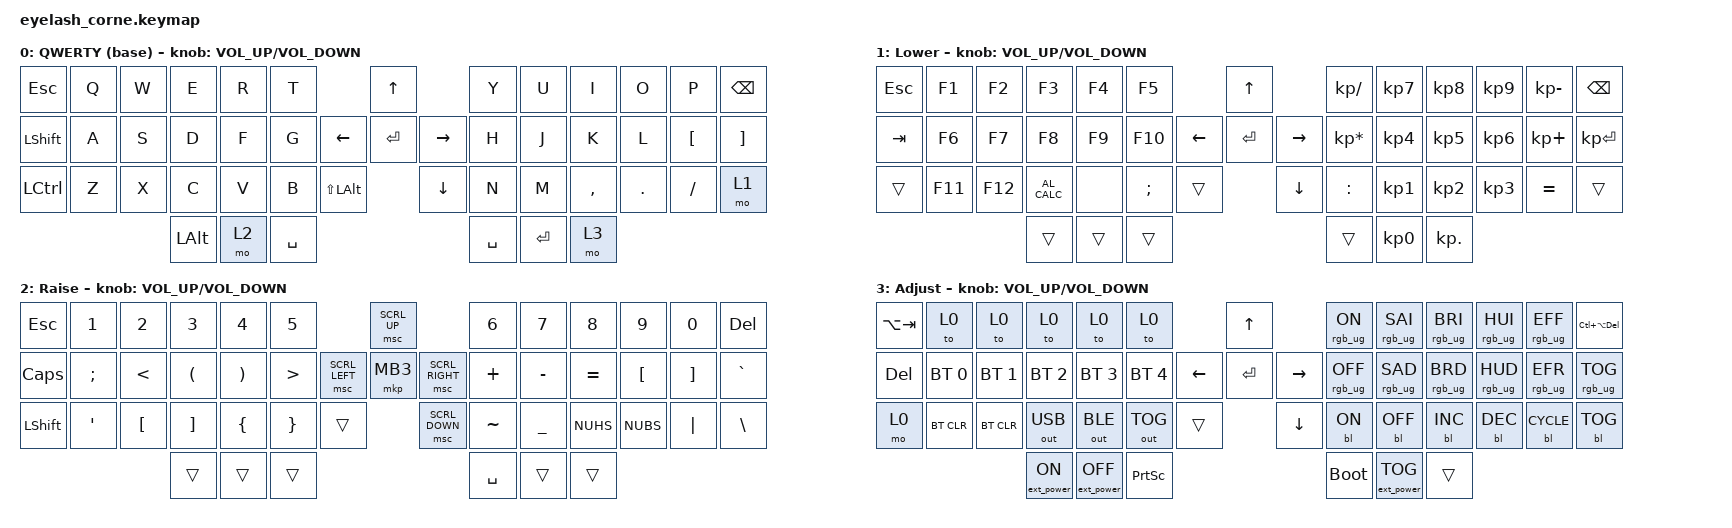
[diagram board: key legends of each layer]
// #define ZMK_POINTING_DEFAULT_MOVE_VAL 1200  // 600
// #define ZMK_POINTING_DEFAULT_SCRL_VAL 25    // 10

#define ZMK_POINTING_DEFAULT_SCRL_VAL 30    // default: 10

#include <input/processors.dtsi>
#include <zephyr/dt-bindings/input/input-event-codes.h>
#include <dt-bindings/zmk/mouse.h>
#include <behaviors.dtsi>
#include <dt-bindings/zmk/backlight.h>
#include <dt-bindings/zmk/bt.h>
#include <dt-bindings/zmk/ext_power.h>
#include <dt-bindings/zmk/keys.h>
#include <dt-bindings/zmk/outputs.h>
#include <dt-bindings/zmk/pointing.h>
#include <dt-bindings/zmk/rgb.h>

#define QTY_HR 0    // QWERTY w/ HRM
#define QTY 1       // QWERTY
#define CMK_HR 2    // Colemak w/ HRM
#define CMK 3       // Colemak
#define CMR 4       // Colemak Reversed
#define TRN 5       // Transparent (basic querty)
#define LOW 6       // Lower
#define RSE 7       // Raise
#define ADJ 8       // Adjust (keymap, bluetooth, output, backlight control)
#define FUN 9       // Function/Media
#define MAX 10      // Maxtend
#define MSE 11      // Mouse
#define NSP 12      // NumSpace
#define NTB 13      // NumTab (currently unused)
#define AGR 14      // AltGr (for Windows Umlauts via Alt+Numpad)
#define AGS 15      // AltGr+Shift (for Windows uppercase Umlauts via Alt+Numpad)
#define AJ2 16      // Adjust 2 = Adjust+LShift (additional control functions)

// &mmv_input_listener { input-processors = <&zip_xy_scaler 2 1>; };
// &msc_input_listener { input-processors = <&zip_scroll_scaler 2 1>; };
// &msc {
//     acceleration-exponent = <1>;      // 0
//     time-to-max-speed-ms = <100>;     // 300
//     delay-ms = <0>;                   // 0
// };
// &mmv {
//     time-to-max-speed-ms = <500>;
//     acceleration-exponent = <1>;
//     trigger-period-ms = <16>;
// };

&lt { quick-tap-ms = <200>; };

&caps_word {
    continue-list = <UNDERSCORE BACKSPACE DELETE SEMI>;

    // SEMI is added here because QWERTY semicolon is letter 'O' in Colemak. Unfortunately, it doesn't automatically get shifted.
};

/ {
    behaviors {
        mup: mute_unmute_ptt {
            compatible = "zmk,behavior-hold-tap";
            #binding-cells = <2>;
            tapping-term-ms = <200>;
            flavor = "hold-preferred";
            hold-while-undecided-linger;
            bindings = <&kp>, <&kp>;
        };

        hml: hrmod_left {
            compatible = "zmk,behavior-hold-tap";
            #binding-cells = <2>;
            tapping-term-ms = <200>;
            flavor = "balanced";
            quick-tap-ms = <200>;
            require-prior-idle-ms = <100>;
            bindings = <&kp>, <&kp>;

            hold-trigger-key-positions = <7 8 9 10 11 12 22 23 24 25 26 27 36 37 38 39 40 41 44 45 46 47>;

            // these are all the right-side buttons
            // left-side thumb button for LOW/TAB also included, allowing Alt-TAB with left hand without tapping-term-ms delay.

            hold-trigger-on-release;
        };

        hmr: hrmod_right {
            compatible = "zmk,behavior-hold-tap";
            #binding-cells = <2>;
            tapping-term-ms = <200>;
            flavor = "balanced";
            quick-tap-ms = <200>;
            require-prior-idle-ms = <100>;
            bindings = <&kp>, <&kp>;

            hold-trigger-key-positions = <0 1 2 3 4 5 13 14 15 16 17 18 28 29 30 31 32 33 42 43 44 45>;

            // these are all the left-side buttons

            hold-trigger-on-release;
        };

        hll: hrlayer_left {
            compatible = "zmk,behavior-hold-tap";
            #binding-cells = <2>;
            tapping-term-ms = <200>;
            flavor = "balanced";
            quick-tap-ms = <200>;
            require-prior-idle-ms = <100>;
            bindings = <&mo>, <&kp>;

            hold-trigger-key-positions = <7 8 9 10 11 12 22 23 24 25 26 27 36 37 38 39 40 41 44 45 46 47>;

            // these are all the right-side buttons
            // left-side thumb button for LOW/TAB also included, allowing Alt-TAB with left hand without tapping-term-ms delay.

            hold-trigger-on-release;
        };

        hlr: hrlayer_right {
            compatible = "zmk,behavior-hold-tap";
            #binding-cells = <2>;
            tapping-term-ms = <200>;
            flavor = "balanced";
            quick-tap-ms = <200>;
            require-prior-idle-ms = <100>;
            bindings = <&mo>, <&kp>;

            hold-trigger-key-positions = <0 1 2 3 4 5 13 14 15 16 17 18 28 29 30 31 32 33 42 43 44 45>;

            // these are all the left-side buttons

            hold-trigger-on-release;
        };

        lsz: layer_tap_sz {
            // pass two parameters to this behaviour:
            // - number of layer to activate for momentary layer functionality
            // - second parameter will be ignored (e.g. just pass number 0), it will always tap &uml_sz macro

            compatible = "zmk,behavior-hold-tap";
            #binding-cells = <2>;
            tapping-term-ms = <200>;
            flavor = "balanced";
            quick-tap-ms = <200>;
            require-prior-idle-ms = <100>;
            bindings = <&mo>, <&uml_sz>;

            hold-trigger-on-release;
        };
    };

    //  key positions (for hold-trigger-key-positions):
    //  (0) TAB       (1))Q     (2) W     (3) E     (4) R        (5) T                      (6) up               (7) Y          (8) U     (9) I     (10) O    (11) P     (12) BSPC
    //  (13) MAX BSPC (14) A    (15) S    (16) D    (17) F       (18) G         (19) left  (20) mid  (21) right  (22) H         (23) J     (24) K     (25) L    (26) SEMI  (27) APOS
    //  (28) LSHFT    (29) Z    (30) X    (31) C    (32) V       (33) B         (34) mute  (35) down             (36) N         (37) M     (38) COMMA (39) DOT  (40) SLASH (41) RSHFT ENTER
    //                                    (42) ADJ  (43) LOW TAB (44) MSE SPACE                                  (45) NSP SPACE (46) RSE   (47) FUN
    // &kp TAB    &kp Q  &kp W      &kp E     &kp R  &kp T                              &kp UP                &kp Y        &kp U  &kp I      &kp O    &kp P     &kp BSPC
    // &td0       &kp A  &kp S      &kp D     &kp F  &kp G                    &kp LEFT  &kp ENTER  &kp RIGHT  &kp H        &kp J  &kp K      &kp L    &kp SEMI  &kp SQT
    // &kp LCTRL  &kp Z  &kp X      &kp C     &kp V  &kp B       &kp SPACE              &kp DOWN              &kp N        &kp M  &kp COMMA  &kp DOT  &kp FSLH  &kp ESC
    //                              &kp LGUI  &mo 1  &lt 3 SPACE                                              &lt 3 ENTER  &mo 2  &kp RALT

    macros {
        blockquote: blockquote {
            compatible = "zmk,behavior-macro";
            #binding-cells = <0>;
            bindings =
                <&macro_tap>,
                <&kp GRAVE &kp GRAVE &kp GRAVE &kp ENTER &kp ENTER &kp GRAVE &kp GRAVE &kp GRAVE &kp ENTER>,
                <&macro_tap>,
                <&kp UP &kp UP>;
        };

        uml_a: umlaut_a {
            compatible = "zmk,behavior-macro";
            #binding-cells = <0>;
            bindings =
                <&macro_press>,
                <&kp LALT>,
                <&macro_tap>,
                <&kp KP_N0 &kp KP_N2 &kp KP_N2 &kp KP_N8>,
                <&macro_release>,
                <&kp LALT>;
        };

        uml_o: umlaut_o {
            compatible = "zmk,behavior-macro";
            #binding-cells = <0>;
            bindings =
                <&macro_press>,
                <&kp LALT>,
                <&macro_tap>,
                <&kp KP_N0 &kp KP_N2 &kp KP_N4 &kp KP_N6>,
                <&macro_release>,
                <&kp LALT>;
        };

        uml_u: umlaut_u {
            compatible = "zmk,behavior-macro";
            #binding-cells = <0>;
            bindings =
                <&macro_press>,
                <&kp LALT>,
                <&macro_tap>,
                <&kp KP_N0 &kp KP_N2 &kp KP_N5 &kp KP_N2>,
                <&macro_release>,
                <&kp LALT>;
        };

        uml_sz: umlaut_sz {
            compatible = "zmk,behavior-macro";
            #binding-cells = <0>;
            bindings =
                <&macro_press>,
                <&kp LALT>,
                <&macro_tap>,
                <&kp KP_N0 &kp KP_N2 &kp KP_N2 &kp KP_N3>,
                <&macro_release>,
                <&kp LALT>;
        };

        umu_a: umlaut_a_uppercase {
            compatible = "zmk,behavior-macro";
            #binding-cells = <0>;
            bindings =
                <&macro_press>,
                <&kp LALT>,
                <&macro_tap>,
                <&kp KP_N0 &kp KP_N1 &kp KP_N9 &kp KP_N6>,
                <&macro_release>,
                <&kp LALT>;
        };

        umu_o: umlaut_o_uppercase {
            compatible = "zmk,behavior-macro";
            #binding-cells = <0>;
            bindings =
                <&macro_press>,
                <&kp LALT>,
                <&macro_tap>,
                <&kp KP_N0 &kp KP_N2 &kp KP_N1 &kp KP_N4>,
                <&macro_release>,
                <&kp LALT>;
        };

        umu_u: umlaut_u_uppercase {
            compatible = "zmk,behavior-macro";
            #binding-cells = <0>;
            bindings =
                <&macro_press>,
                <&kp LALT>,
                <&macro_tap>,
                <&kp KP_N0 &kp KP_N2 &kp KP_N2 &kp KP_N0>,
                <&macro_release>,
                <&kp LALT>;
        };
    };

    combos {
        compatible = "zmk,combos";

        combo_esc_q_w {
            require-prior-idle-ms = <100>;
            timeout-ms = <100>;
            key-positions = <1 2>;
            bindings = <&kp ESC>;
        };

        combo_esc_tab_q {
            require-prior-idle-ms = <100>;
            timeout-ms = <100>;
            key-positions = <0 1>;
            bindings = <&kp ESC>;
        };

        combo_enter_o_apos {
            require-prior-idle-ms = <100>;
            timeout-ms = <100>;
            key-positions = <26 27>;
            bindings = <&kp ENTER>;
        };

        combo_enter_n_e_i {
            require-prior-idle-ms = <100>;
            timeout-ms = <100>;
            key-positions = <23 24 25>;
            bindings = <&kp ENTER>;
        };

        combo_blockquote_esc_tab_q {
            require-prior-idle-ms = <100>;
            timeout-ms = <100>;
            key-positions = <0 1>;
            bindings = <&blockquote>;
        };
    };

    keymap {
        compatible = "zmk,keymap";

        transparent_layer {
            display-name = "QWERTY (base)";
            bindings = <
&kp ESCAPE      &kp Q  &kp W  &kp E         &kp R  &kp T                                    &kp UP                &kp Y      &kp U      &kp I      &kp O    &kp P             &kp BSPC
&kp LEFT_SHIFT  &kp A  &kp S  &kp D         &kp F  &kp G                          &kp LEFT  &kp ENTER  &kp RIGHT  &kp H      &kp J      &kp K      &kp L    &kp LEFT_BRACKET  &kp RIGHT_BRACKET
&kp LCTRL       &kp Z  &kp X  &kp C         &kp V  &kp B      &kp LS(LEFT_ALT)              &kp DOWN              &kp N      &kp M      &kp COMMA  &kp DOT  &kp SLASH         &mo 1
                              &kp LEFT_ALT  &mo 2  &kp SPACE                                                      &kp SPACE  &kp ENTER  &mo 3
            >;

            sensor-bindings = <&inc_dec_kp C_VOLUME_UP C_VOLUME_DOWN>;
        };

        lower_layer {
            display-name = "Lower";
            bindings = <
&kp ESC  &kp F1   &kp F2   &kp F3         &kp F4  &kp F5                        &kp UP                &kp KP_SLASH     &kp KP_N7  &kp KP_N8   &kp KP_N9  &kp KP_MINUS  &kp BSPC
&kp TAB  &kp F6   &kp F7   &kp F8         &kp F9  &kp F10             &kp LEFT  &kp ENTER  &kp RIGHT  &kp KP_ASTERISK  &kp KP_N4  &kp KP_N5   &kp KP_N6  &kp KP_PLUS   &kp KP_ENTER
&trans   &kp F11  &kp F12  &kp C_AL_CALC  &none   &kp SEMI  &trans              &kp DOWN              &kp COLON        &kp KP_N1  &kp KP_N2   &kp KP_N3  &kp EQUAL     &trans
                           &trans         &trans  &trans                                              &trans           &kp KP_N0  &kp KP_DOT
            >;

            sensor-bindings = <&inc_dec_kp C_VOLUME_UP C_VOLUME_DOWN>;
        };

        raise_layer {
            display-name = "Raise";
            bindings = <
&kp ESC    &kp N1         &kp N2    &kp N3    &kp N4    &kp N5                              &msc SCRL_UP                     &kp N6     &kp N7     &kp N8     &kp N9    &kp N0    &kp DEL
&kp CAPS   &kp SEMICOLON  &kp LT    &kp LPAR  &kp RPAR  &kp GT              &msc SCRL_LEFT  &mkp MB3        &msc SCRL_RIGHT  &kp PLUS   &kp MINUS  &kp EQUAL  &kp LBKT  &kp RBKT  &kp GRAVE
&kp LSHFT  &kp SQT        &kp LBKT  &kp RBKT  &kp LBRC  &kp RBRC  &trans                    &msc SCRL_DOWN                   &kp TILDE  &kp UNDER  &kp NUHS   &kp NUBS  &kp PIPE  &kp BACKSLASH
                                    &trans    &trans    &trans                                                               &kp SPACE  &trans     &trans
            >;

            sensor-bindings = <&inc_dec_kp C_VOLUME_UP C_VOLUME_DOWN>;
        };

        adjust_layer {
            display-name = "Adjust";
            bindings = <
&kp LA(TAB)  &to 0         &to 0         &to 0             &to 0              &to 0                                &kp UP                &rgb_ug RGB_ON   &rgb_ug RGB_SAI    &rgb_ug RGB_BRI  &rgb_ug RGB_HUI  &rgb_ug RGB_EFF  &kp LC(LA(DEL))
&kp DEL      &bt BT_SEL 0  &bt BT_SEL 1  &bt BT_SEL 2      &bt BT_SEL 3       &bt BT_SEL 4               &kp LEFT  &kp ENTER  &kp RIGHT  &rgb_ug RGB_OFF  &rgb_ug RGB_SAD    &rgb_ug RGB_BRD  &rgb_ug RGB_HUD  &rgb_ug RGB_EFR  &rgb_ug RGB_TOG
&mo 0        &bt BT_CLR    &bt BT_CLR    &out OUT_USB      &out OUT_BLE       &out OUT_TOG     &trans              &kp DOWN              &bl BL_ON        &bl BL_OFF         &bl BL_INC       &bl BL_DEC       &bl BL_CYCLE     &bl BL_TOG
                                         &ext_power EP_ON  &ext_power EP_OFF  &kp PRINTSCREEN                                            &bootloader      &ext_power EP_TOG  &trans
            >;

            sensor-bindings = <&inc_dec_kp C_VOLUME_UP C_VOLUME_DOWN>;
        };

        // The following two layers generate Colemak AltGr and Colemak AltGr-Shift international characters using Windows Alt+Numpad keystrokes.
        // Each key needs to be bound to a macro that sends the Alt+Numpad scancodes. You'll need lots of macros for this.
        // At the moment, only German Umlauts äöü, shifted German Umlauts ÄÖÜ and German "scharfes S" ß have been created.
        // ß (rewritten as "sz" in ASCII) has a very special binding because it functions as a layer shift when held, but needs to call
        // the uml_sz macro when tapped.
    };
};

// / {
//     behaviors {
//         td0: td0 {
//             compatible = "zmk,behavior-tap-dance";
//             display-name = "Shift/Caps Lock Tap Dance";
//             #binding-cells = <0>;
//             bindings = <&kp LEFT_SHIFT>, <&kp CAPS>;
//         };
//     };
//     rgb_encoder: rgb_encoder {
//         compatible = "zmk,behavior-sensor-rotate";
//         #sensor-binding-cells = <0>;
//         bindings = <&rgb_ug RGB_BRI>, <&rgb_ug RGB_BRD>;
//     };
//     scroll_encoder: scroll_encoder {
//         compatible = "zmk,behavior-sensor-rotate";
//         #sensor-binding-cells = <0>;
//         bindings = <&msc SCRL_DOWN>, <&msc SCRL_UP>;
//         tap-ms = <100>;
//     };
//     keymap {
//         compatible = "zmk,keymap";
//         default_layer {
//             display-name = "QWERTY";
//             bindings = <
// &kp TAB    &kp Q  &kp W      &kp E     &kp R  &kp T                              &kp UP                &kp Y        &kp U  &kp I      &kp O    &kp P     &kp BSPC
// &td0       &kp A  &kp S      &kp D     &kp F  &kp G                    &kp LEFT  &kp ENTER  &kp RIGHT  &kp H        &kp J  &kp K      &kp L    &kp SEMI  &kp SQT
// &kp LCTRL  &kp Z  &kp X      &kp C     &kp V  &kp B       &kp SPACE              &kp DOWN              &kp N        &kp M  &kp COMMA  &kp DOT  &kp FSLH  &kp ESC
//                              &kp LGUI  &mo 1  &lt 3 SPACE                                              &lt 3 ENTER  &mo 2  &kp RALT
//             >;
//             sensor-bindings = <&inc_dec_kp C_VOLUME_UP C_VOLUME_DOWN>;
//         };
//         lower_layer {
//             display-name = "NUMBER";
//             bindings = <
// &trans  &kp N1           &kp N2          &kp N3        &kp N4        &kp N5                                        &mmv MOVE_UP                     &kp N6           &kp N7           &kp N8           &kp N9           &kp N0    &kp BSPC
// &trans  &bt BT_CLR_ALL   &bt BT_SEL 0    &bt BT_SEL 1  &bt BT_SEL 2  &bt BT_SEL 3                           &mmv MOVE_LEFT  &mkp LCLK       &mmv MOVE_RIGHT  &kp LEFT         &kp DOWN         &kp UP           &kp RIGHT        &kp HOME  &kp PG_UP
// &trans  &rgb_ug RGB_OFF  &rgb_ug RGB_ON  &trans        &trans        &rgb_ug RGB_EFF &kp C_MUTE                    &mmv MOVE_DOWN                   &rgb_ug RGB_EFR  &rgb_ug RGB_SPI  &rgb_ug RGB_BRI  &rgb_ug RGB_BRD  &kp END   &kp PG_DN
//                                          &trans        &trans        &trans                                                                         &kp INS          &kp DEL          &trans
//             >;
//             sensor-bindings = <&scroll_encoder>;
//         };
//         raise_layer {
//             display-name = "SYMBOL";
//             bindings = <
// &trans  &kp EXCL      &kp AT        &kp HASH   &kp DLLR   &kp PRCNT                           &mmv MOVE_UP                     &kp CARET  &kp AMPS   &kp ASTRK  &kp LPAR  &kp RPAR  &kp BSPC
// &trans  &bt BT_CLR    &mkp LCLK     &mkp MCLK  &mkp RCLK  &mkp MB4            &mmv MOVE_LEFT  &mkp LCLK       &mmv MOVE_RIGHT  &kp MINUS  &kp EQUAL  &kp LBKT   &kp RBKT  &kp BSLH  &kp GRAVE
// &trans  &out OUT_USB  &out OUT_BLE  &none      &none      &mkp MB5  &trans                    &mmv MOVE_DOWN                   &kp UNDER  &kp PLUS   &kp LBRC   &kp RBRC  &kp PIPE  &kp TILDE
//                                     &trans     &trans     &kp SPACE                                                            &kp RET    &trans     &trans
//             >;
//             sensor-bindings = <&scroll_encoder>;
//         };
//         layer_3 {
//             display-name = "Fn";
//             bindings = <
// &studio_unlock   &kp F1      &kp F2      &kp F3       &kp F4     &kp F5                                  &mmv MOVE_UP                     &kp F6       &kp F7     &kp F8       &kp F9      &kp F10          &kp F11
// &trans  &trans      &mkp LCLK   &mkp MCLK    &mkp RCLK  &mkp MB4                &mmv MOVE_LEFT  &mkp LCLK       &mmv MOVE_RIGHT  &bootloader  &mkp LCLK  &mkp MCLK    &mkp RCLK   &kp PRINTSCREEN  &kp F12
// &trans  &sys_reset  &trans      &bootloader  &trans     &mkp MB5  &kp C_MUTE                    &mmv MOVE_DOWN                   &trans       &trans     &bootloader  &sys_reset  &kp SCROLLLOCK   &kp PAUSE_BREAK
//                                 &trans      &trans      &trans                                                                   &trans       &trans     &trans
//             >;
//             sensor-bindings = <&scroll_encoder>;
//         };
//     };
// };
